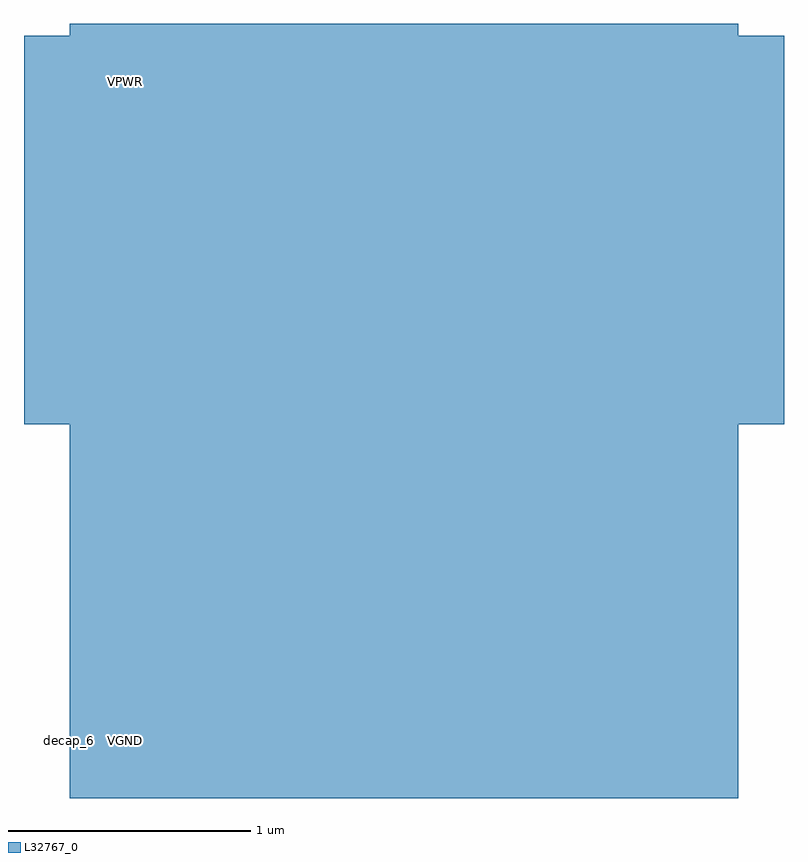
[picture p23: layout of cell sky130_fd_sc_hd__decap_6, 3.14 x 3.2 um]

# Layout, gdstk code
import gdstk
lib = gdstk.Library(unit=1e-6, precision=1e-09)
def R(c, l, rs):  # rectangles x0, y0, x1, y1
    for r in rs: c.add(gdstk.rectangle(r[:2], r[2:], *l))
def A(c, l, x, y, w, h, nx, ny, dx, dy):  # array of equal rectangles
    R(c, l, [(x+i*dx, y+j*dy, x+i*dx+w, y+j*dy+h) for i in range(nx) for j in range(ny)])
def P(c, l, *ps):  # polygons
    for p in ps: c.add(gdstk.Polygon(p, *l))
L32767_0 = (32767, 0)

sky130_fd_sc_hd__decap_6 = lib.new_cell('sky130_fd_sc_hd__decap_6')
A(sky130_fd_sc_hd__decap_6, L32767_0, 0.145, -0.085, 0.17, 0.17, 6, 2, 0.46, 2.72)
R(sky130_fd_sc_hd__decap_6, L32767_0, [(0,-0.19,2.76,1.015), (0.145,-0.085,0.315,0.085), (0.145,-0.085,0.315,0.085), (0,0,2.76,2.72), (0,0,2.76,2.72), (0.135,0.235,2.625,0.785), (0.175,0.39,0.345,0.56), (2.415,0.39,2.585,0.56), (1.565,1.025,1.735,1.195), (2.115,1.025,2.285,1.195), (0.475,1.205,0.645,1.375), (1.025,1.205,1.195,1.375), (0,1.25,2.76,2.72), (-0.19,1.305,2.95,2.91), (0,1.485,2.76,2.91), (0.135,1.615,2.625,2.485), (0.175,1.745,0.345,1.915), (2.415,1.745,2.585,1.915), (0.175,2.255,0.345,2.425), (2.415,2.255,2.585,2.425), (0.145,2.635,0.315,2.805), (0.145,2.635,0.315,2.805)])
P(sky130_fd_sc_hd__decap_6, L32767_0, [(2.365,2.615),(0.395,2.615),(0.395,1.125),(1.275,1.125),(1.275,1.485),(2.365,1.485)],
  [(2.365,1.275),(1.485,1.275),(1.485,0.915),(0.395,0.915),(0.395,0.105),(2.365,0.105)],
  [(2.76,0.085),(2.675,0.085),(2.675,0.855),(1.295,0.855),(1.295,1.375),(0.085,1.375),(0.085,0.085),(0,0.085),(0,-0.085),(2.76,-0.085)],
  [(2.76,2.805),(0,2.805),(0,2.635),(0.085,2.635),(0.085,1.545),(1.465,1.545),(1.465,1.025),(2.675,1.025),(2.675,2.635),(2.76,2.635)],
  [(2.76,1.345),(1.295,1.345),(1.295,1.475),(0,1.475),(0,0.975),(1.465,0.975),(1.465,0.925),(2.76,0.925)])
sky130_fd_sc_hd__decap_6.add(gdstk.FlexPath([(0,2.72),(2.76,2.72)], 0.48, ends="flush", simple_path=True, layer=32767, datatype=0))  # L32767_0
sky130_fd_sc_hd__decap_6.add(gdstk.FlexPath([(0,0),(2.76,0)], 0.48, ends="flush", simple_path=True, layer=32767, datatype=0))  # L32767_0
sky130_fd_sc_hd__decap_6.add(gdstk.Label('VPWR', (0.23,2.72), layer=32767, texttype=5))
sky130_fd_sc_hd__decap_6.add(gdstk.Label('VGND', (0.23,0), layer=32767, texttype=5))
sky130_fd_sc_hd__decap_6.add(gdstk.Label('VPB', (0.23,2.72), layer=32767, texttype=5))
sky130_fd_sc_hd__decap_6.add(gdstk.Label('VNB', (0.23,0), layer=32767, texttype=59))
sky130_fd_sc_hd__decap_6.add(gdstk.Label('decap_6', (0,0), layer=32767, texttype=44))

lib.write_gds('sky130_fd_sc_hd__decap_6.gds')
